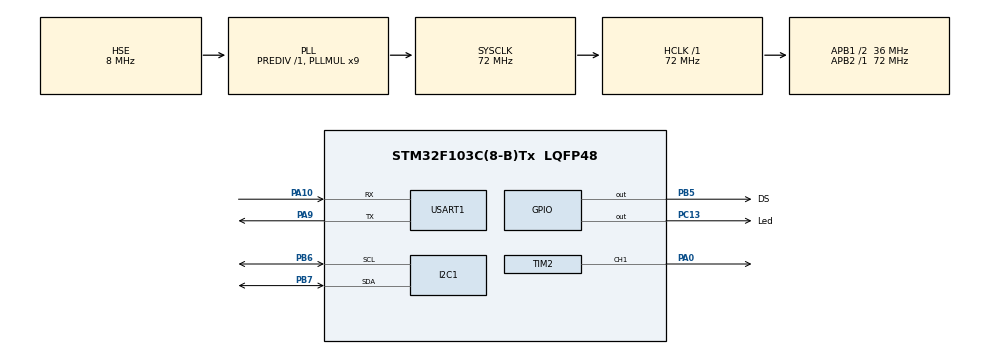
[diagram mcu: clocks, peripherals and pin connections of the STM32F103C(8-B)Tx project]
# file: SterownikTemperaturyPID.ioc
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I2C1.I2C_Mode=I2C_Fast
Mcu.Family=STM32F1
Mcu.Name=STM32F103C(8-B)Tx
Mcu.Package=LQFP48
NVIC.PriorityGroup=NVIC_PRIORITYGROUP_4
NVIC.TIM3_IRQn=true\:3\:0\:true\:false\:true\:true\:true\:true
NVIC.USART1_IRQn=true\:1\:0\:true\:false\:true\:true\:true\:true
PA0-WKUP.Signal=S_TIM2_CH1_ETR
PA10.Mode=Asynchronous
PA10.Signal=USART1_RX
PA13.Mode=Serial_Wire
PA13.Signal=SYS_JTMS-SWDIO
PA14.Mode=Serial_Wire
PA14.Signal=SYS_JTCK-SWCLK
PA9.Mode=Asynchronous
PA9.Signal=USART1_TX
PB5.GPIO_Label=DS
PB5.GPIO_ModeDefaultOutputPP=GPIO_MODE_OUTPUT_OD
PB5.GPIO_PuPd=GPIO_NOPULL
PB5.GPIO_Speed=GPIO_SPEED_FREQ_HIGH
PB5.PinState=GPIO_PIN_SET
PB5.Signal=GPIO_Output
PB6.Mode=I2C
PB6.Signal=I2C1_SCL
PB7.Mode=I2C
PB7.Signal=I2C1_SDA
PC13-TAMPER-RTC.GPIO_Label=Led
PC13-TAMPER-RTC.PinState=GPIO_PIN_SET
PC13-TAMPER-RTC.Signal=GPIO_Output
PD0-OSC_IN.Mode=HSE-External-Oscillator
PD0-OSC_IN.Signal=RCC_OSC_IN
PD1-OSC_OUT.Mode=HSE-External-Oscillator
PD1-OSC_OUT.Signal=RCC_OSC_OUT
ProjectManager.HeapSize=0x200
ProjectManager.StackSize=0x400
ProjectManager.TargetToolchain=STM32CubeIDE
RCC.AHBFreq_Value=72000000
RCC.APB1CLKDivider=RCC_HCLK_DIV2
RCC.APB1Freq_Value=36000000
RCC.APB1TimFreq_Value=72000000
RCC.APB2Freq_Value=72000000
RCC.APB2TimFreq_Value=72000000
RCC.HCLKFreq_Value=72000000
RCC.PLLMUL=RCC_PLL_MUL9
RCC.PLLSourceVirtual=RCC_PLLSOURCE_HSE
RCC.SYSCLKFreq_VALUE=72000000
RCC.SYSCLKSource=RCC_SYSCLKSOURCE_PLLCLK
RCC.USBFreq_Value=72000000
SH.S_TIM2_CH1_ETR.0=TIM2_CH1,PWM Generation1 CH1
TIM2.Channel-PWM\ Generation1\ CH1=TIM_CHANNEL_1
TIM2.OCMode_PWM-PWM\ Generation1\ CH1=TIM_OCMODE_PWM2
TIM2.Period=999
TIM2.Prescaler=1439
TIM3.Channel-Output\ Compare1\ No\ Output=TIM_CHANNEL_1
TIM3.Period=999
TIM3.Prescaler=1439
USART1.VirtualMode=VM_ASYNC
VP_TIM2_VS_ClockSourceINT.Mode=Internal
VP_TIM3_VS_ClockSourceINT.Mode=Internal
VP_TIM3_VS_no_output1.Mode=Output Compare1 No Output
board=custom

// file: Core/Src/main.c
/* USER CODE BEGIN Header */
/**
  ******************************************************************************
  * @file           : main.c
  * @brief          : Main program body
  ******************************************************************************
  * @attention
  *
  * Copyright (c) 2024 STMicroelectronics.
  * All rights reserved.
  *
  * This software is licensed under terms that can be found in the LICENSE file
  * in the root directory of this software component.
  * If no LICENSE file comes with this software, it is provided AS-IS.
  *
  ******************************************************************************
  */
/* USER CODE END Header */
#include "main.h"
#include "i2c.h"
#include "tim.h"
#include "usart.h"
#include "gpio.h"

/* USER CODE BEGIN Includes */
#include "math.h"
#include "stdlib.h"
#include "string.h"
#include "BMPXX80.h"
/* USER CODE END Includes */

/* USER CODE BEGIN PV */
uint8_t RX_Buffer[10];
uint8_t RX_Char;
uint8_t buffer_index = 0;
char Buff[16];

float temperature = 0;
float pressure = 0;
uint16_t Output = 0;

uint16_t CNT = 0;

float Error = 0.0;
float OUTPUT = 0.0;
float Temperatura = 0.0;
uint8_t Ds_OK = 1;
volatile uint8_t iRQ = 0;
uint8_t rom_code[8];
typedef struct {
    float Kp;
    float Ki;
    float Kd;

    float previous_error;
    float integral;
    float setpoint;

    float output_min;
    float output_max;
} PID_Controller;

PID_Controller PID;

/* USER CODE END PV */

void SystemClock_Config(void);
/* USER CODE BEGIN PFP */

/*------------------------------------------------PID-----------------------------------------------*/
void PID_Init(PID_Controller *pid, float Kp, float Ki, float Kd, float output_min, float output_max) {
    pid->Kp = Kp;
    pid->Ki = Ki;
    pid->Kd = Kd;

    pid->previous_error = 0.0f;
    pid->integral = 0.0f;
    pid->setpoint = 0.0f;

    pid->output_min = output_min;
    pid->output_max = output_max;
}
float PID_Compute(PID_Controller *pid, float measured_value, float dt) {
    float error = pid->setpoint - measured_value;
    float derivative = (error - pid->previous_error) / dt;
    pid->integral += error * dt;
    float output = pid->Kp * error + pid->Ki * pid->integral + pid->Kd * derivative;

    if(output > pid->output_max){
        output = pid->output_max;
    }else if(output < pid->output_min){
        output = pid->output_min;
    }

    pid->previous_error = error;

    Error = error;
    OUTPUT = output;

    return output;
}
void SetPWM(uint16_t PWM){
	__HAL_TIM_SET_COMPARE(&htim2, TIM_CHANNEL_1, PWM);
	HAL_TIM_PWM_Start(&htim2, TIM_CHANNEL_1);
}

void Uart_Send_String(char *d){
    HAL_UART_Transmit(&huart1, (uint8_t *)d, strlen(d), 2000);
}

uint32_t Delay_Init(void)
{
    /* Disable TRC */
    CoreDebug->DEMCR &= ~CoreDebug_DEMCR_TRCENA_Msk; // ~0x01000000;
    /* Enable TRC */
    CoreDebug->DEMCR |=  CoreDebug_DEMCR_TRCENA_Msk; // 0x01000000;

    /* Disable clock cycle counter */
    DWT->CTRL &= ~DWT_CTRL_CYCCNTENA_Msk; //~0x00000001;
    /* Enable  clock cycle counter */
    DWT->CTRL |=  DWT_CTRL_CYCCNTENA_Msk; //0x00000001;

    /* Reset the clock cycle counter value */
    DWT->CYCCNT = 0;

    /* 3 NO OPERATION instructions */
    __ASM volatile ("NOP");
    __ASM volatile ("NOP");
    __ASM volatile ("NOP");

    /* Check if clock cycle counter has started */
    if(DWT->CYCCNT)
    {
       return 0; /*clock cycle counter started*/
    }
    else
    {
      return 1; /*clock cycle counter not started*/
    }
}
void delay_us(uint32_t us)
{
	uint32_t au32_initial_ticks = DWT->CYCCNT;
	uint32_t au32_ticks = (HAL_RCC_GetHCLKFreq() / 1000000);
	us *= au32_ticks;
	while ((DWT->CYCCNT - au32_initial_ticks) < us-au32_ticks);
}
HAL_StatusTypeDef wire_reset(void){
  int rc;

  DS_GPIO_Port -> ODR &= ~DS_Pin;
  delay_us(480);
  DS_GPIO_Port -> ODR |= DS_Pin;
  delay_us(70);
  rc = HAL_GPIO_ReadPin(DS_GPIO_Port, DS_Pin);
  delay_us(410);

  if (rc == 0)
    return HAL_OK;
  else
    return HAL_ERROR;
}
void write_bit(int value)
{
  if (value) {
	DS_GPIO_Port -> ODR &= ~DS_Pin;
    delay_us(6);
    DS_GPIO_Port -> ODR |= DS_Pin;
    delay_us(64);
  } else {
	DS_GPIO_Port -> ODR &= ~DS_Pin;
    delay_us(60);
    DS_GPIO_Port -> ODR |= DS_Pin;
    delay_us(10);
  }
}
int read_bit(void)
{
  int rc;
  DS_GPIO_Port -> ODR &= ~DS_Pin;
  delay_us(6);
  DS_GPIO_Port -> ODR |= DS_Pin;
  delay_us(9);
  rc = HAL_GPIO_ReadPin(DS_GPIO_Port, DS_Pin);
  delay_us(55);
  return rc;
}
void wire_write(uint8_t byte)
{
  int i;
  for (i = 0; i < 8; i++) {
    write_bit(byte & 0x01);
    byte >>= 1;
  }
}
uint8_t wire_read(void)
{
  uint8_t value = 0;
  int i;
  for (i = 0; i < 8; i++) {
    value >>= 1;
    if (read_bit())
      value |= 0x80;
  }
  return value;
}
HAL_StatusTypeDef DS_SetResolution(uint8_t resolution) {
    uint8_t scratchpad[9];
    uint8_t config;
    if (resolution < 9 || resolution > 12) {
        return HAL_ERROR; // Niepoprawna rozdzielczość
    }

    // Reset i inicjalizacja
    if (wire_reset() != HAL_OK) {
        return HAL_ERROR;
    }

    // Wybór urządzenia (SKIP ROM)
    wire_write(0xCC);

    // Odczyt Scratchpada
    wire_write(0xBE);
    for (int i = 0; i < 9; i++) {
        scratchpad[i] = wire_read();
    }

    // Modyfikacja rejestru konfiguracji
    config = scratchpad[4];
    config &= ~0x60; // Wyczyszczenie bitów R1 i R0
    config |= (resolution - 9) << 5; // Ustawienie odpowiednich bitów

    // Zapis nowego Scratchpada
    if (wire_reset() != HAL_OK) {
        return HAL_ERROR;
    }

    wire_write(0xCC); // SKIP ROM
    wire_write(0x4E); // Write Scratchpad
    wire_write(scratchpad[2]); // Kopiowanie TH
    wire_write(scratchpad[3]); // Kopiowanie TL
    wire_write(config);        // Nowy rejestr konfiguracji

    // Zapis do EEPROM (kopiowanie Scratchpada do pamięci)
    if (wire_reset() != HAL_OK) {
        return HAL_ERROR;
    }

    wire_write(0xCC); // SKIP ROM
    wire_write(0x48); // Kopiowanie Scratchpada do EEPROM
    HAL_Delay(10);    // Krótka przerwa na zapis

    return HAL_OK;
}
float ReadTemperature(void) {
    uint8_t temp_lsb, temp_msb;
    int16_t temp_raw;
    float temperature;

    // Reset i inicjalizacja czujnika
    if (wire_reset() != HAL_OK) {
        return -999.0; // Błąd komunikacji
    }

    // Wybór urządzenia (SKIP ROM - pomijamy adresowanie, zakładając jeden czujnik)
    wire_write(0xCC);

    // Wydanie polecenia rozpoczęcia konwersji temperatury
    wire_write(0x44);

    // Czekanie na zakończenie konwersji (czas max. 750 ms)
    HAL_Delay(100);

    // Reset i ponowne inicjalizowanie do odczytu danych
    if (wire_reset() != HAL_OK) {
        return -999.0; // Błąd komunikacji
    }

    // Wybór urządzenia (SKIP ROM)
    wire_write(0xCC);

    // Wydanie polecenia odczytu Scratchpad
    wire_write(0xBE);

    // Odczyt dwóch pierwszych bajtów Scratchpad (temp LSB i MSB)
    temp_lsb = wire_read();
    temp_msb = wire_read();

    // Złożenie surowej wartości temperatury
    temp_raw = (temp_msb << 8) | temp_lsb;

    // Przekształcenie na wartość temperatury w stopniach Celsjusza
    temperature = temp_raw / 16.0;

    return temperature;
}

void SendDataToPC() {
    int8_t MSB = 0;
    uint8_t LSB = 0; // LSB jako uint8_t dla poprawności zakresu
    char Buff[10];   // Bufor do konwersji liczb na ciągi znaków

    // Temperaturę wysyłamy jako "<MSB.LSB/"
    MSB = (int8_t)temperature;
    LSB = (uint8_t)((temperature - MSB) * 100.0);
    Uart_Send_String("<");
    itoa(MSB, Buff, 10);
    Uart_Send_String(Buff);
    Uart_Send_String(".");
    itoa(LSB, Buff, 10);
    Uart_Send_String(Buff);
    Uart_Send_String("/");

    // Błąd (Error)
    MSB = (int8_t)Error;
    LSB = (uint8_t)(fabs(Error * 100.0) - abs(MSB * 100)); // fabs dla liczb zmiennoprzecinkowych
    itoa(MSB, Buff, 10);
    Uart_Send_String(Buff);
    Uart_Send_String(".");
    itoa(LSB, Buff, 10);
    Uart_Send_String(Buff);
    Uart_Send_String("/");

    // Setpoint (PID)
    MSB = (int8_t)PID.setpoint;
    LSB = (uint8_t)((PID.setpoint - MSB) * 100.0);
    itoa(MSB, Buff, 10);
    Uart_Send_String(Buff);
    Uart_Send_String(".");
    itoa(LSB, Buff, 10);
    Uart_Send_String(Buff);
    Uart_Send_String("/");

    // Temperatura
    MSB = (int8_t)Temperatura;
    LSB = (uint8_t)((Temperatura - MSB) * 100.0);
    itoa(MSB, Buff, 10);
    Uart_Send_String(Buff);
    Uart_Send_String(".");
    itoa(LSB, Buff, 10);
    Uart_Send_String(Buff);
    Uart_Send_String(">\r\n");
}

/* USER CODE END PFP */

/* USER CODE BEGIN 0 */
void HAL_TIM_PeriodElapsedCallback(TIM_HandleTypeDef *htim){
	if(htim == &htim3){
		iRQ = 1;
		CNT++;
	}
}
void HAL_UART_RxCpltCallback(UART_HandleTypeDef *huart){
	if(huart == &huart1){
		char *endptr;
		float temp = 0.0;

		if(buffer_index < 10) {
		     RX_Buffer[buffer_index++] = RX_Char;
		}else{
             buffer_index = 0;
		}

		if((RX_Buffer[0] == '<') && (RX_Char == '>')){  //Koniec linii
			if (RX_Buffer[1] == '#') {
			    // KP                                                                         //Kp - <#...>
			    temp = strtof((char*)&RX_Buffer[2], &endptr);
			    if (endptr != (char*)&RX_Buffer[2]) {
			        PID.Kp = temp;
			    }

			    //utoa((uint16_t)PID.Kp, Buff, 10);
			    //Uart_Send_String("KP ustawiono na: ");
			   // Uart_Send_String(Buff);
			   // Uart_Send_String("\r\n");
			}

			if (RX_Buffer[1] == '$') {
			    // KI                                                                         //Ki - <$...>
			    temp = strtof((char*)&RX_Buffer[2], &endptr);
			    if (endptr != (char*)&RX_Buffer[2]) {
			        PID.Ki = temp;
			    }

			    //utoa((uint16_t)PID.Ki, Buff, 10);
			 	//Uart_Send_String("KI ustawiono na: ");
			 	//Uart_Send_String(Buff);
			 	//Uart_Send_String("\r\n");
			}

			if (RX_Buffer[1] == '^') {
			    // KD                                                                          //Kd - <^...>
			    temp = strtof((char*)&RX_Buffer[2], &endptr);
			    if (endptr != (char*)&RX_Buffer[2]) {
			        PID.Kd = temp;
			    }

			    //utoa((uint16_t)PID.Kd, Buff, 10);
			 	//Uart_Send_String("KD ustawiono na: ");
			 	//Uart_Send_String(Buff);
			 	//Uart_Send_String("\r\n");
			}

			if (RX_Buffer[1] == '*') {
			    // Setpoint                                                                //Setpoint - <*...>
			    temp = strtof((char*)&RX_Buffer[2], &endptr);
			    if (endptr != (char*)&RX_Buffer[2]) {
			        PID.setpoint = temp;
			    }

			    //utoa((uint16_t)PID.setpoint, Buff, 10);
			 	//Uart_Send_String("Setpoint ustawiono na: ");
			 	//Uart_Send_String(Buff);
			 	//Uart_Send_String("\r\n");
			}
			for(uint8_t i = 0; i < 10; i++){
				RX_Buffer[i] = 0;
			}
			buffer_index = 0;
		}
		HAL_UART_Receive_IT(&huart1, &RX_Char, 1);
	}
}
/* USER CODE END 0 */

int main(void)
{

  /* MCU Configuration--------------------------------------------------------*/

  /* Reset of all peripherals, Initializes the Flash interface and the Systick. */
  HAL_Init();

  /* Configure the system clock */
  SystemClock_Config();

  /* Initialize all configured peripherals */
  MX_GPIO_Init();
  MX_I2C1_Init();
  MX_USART1_UART_Init();
  MX_TIM2_Init();
  MX_TIM3_Init();
  /* USER CODE BEGIN 2 */
  HAL_TIM_Base_Start_IT(&htim2);
  HAL_UART_Receive_IT(&huart1, &RX_Char, 1);
  HAL_TIM_Base_Start_IT(&htim3);

  Delay_Init();
  PID_Init(&PID, 27.0, 0.9, 4.5, 0, 999);  //55.8, 0.05, 7.5
  BMP280_Init(&hi2c1, BMP280_TEMPERATURE_16BIT, BMP280_STANDARD, BMP280_FORCEDMODE);
  PID.setpoint = 0.0;

  /* USER CODE END 2 */

  /* Infinite loop */
  /* USER CODE BEGIN WHILE */
  while (1)
  {
	if(iRQ == 1){
		temperature = BMP280_ReadTemperature();
		Output = PID_Compute(&PID, temperature, 0.02);
		SetPWM(Output);
        iRQ = 0;
	}

	if(CNT == 3){
		Temperatura = ReadTemperature();
		SendDataToPC();
		CNT = 0;
	}
    /* USER CODE END WHILE */

  }
}

void SystemClock_Config(void)
{
  RCC_OscInitTypeDef RCC_OscInitStruct = {0};
  RCC_ClkInitTypeDef RCC_ClkInitStruct = {0};

  /** Initializes the RCC Oscillators according to the specified parameters
  * in the RCC_OscInitTypeDef structure.
  */
  RCC_OscInitStruct.OscillatorType = RCC_OSCILLATORTYPE_HSE;
  RCC_OscInitStruct.HSEState = RCC_HSE_ON;
  RCC_OscInitStruct.HSEPredivValue = RCC_HSE_PREDIV_DIV1;
  RCC_OscInitStruct.HSIState = RCC_HSI_ON;
  RCC_OscInitStruct.PLL.PLLState = RCC_PLL_ON;
  RCC_OscInitStruct.PLL.PLLSource = RCC_PLLSOURCE_HSE;
  RCC_OscInitStruct.PLL.PLLMUL = RCC_PLL_MUL9;
  if (HAL_RCC_OscConfig(&RCC_OscInitStruct) != HAL_OK)
  {
    Error_Handler();
  }

  /** Initializes the CPU, AHB and APB buses clocks
  */
  RCC_ClkInitStruct.ClockType = RCC_CLOCKTYPE_HCLK|RCC_CLOCKTYPE_SYSCLK
                              |RCC_CLOCKTYPE_PCLK1|RCC_CLOCKTYPE_PCLK2;
  RCC_ClkInitStruct.SYSCLKSource = RCC_SYSCLKSOURCE_PLLCLK;
  RCC_ClkInitStruct.AHBCLKDivider = RCC_SYSCLK_DIV1;
  RCC_ClkInitStruct.APB1CLKDivider = RCC_HCLK_DIV2;
  RCC_ClkInitStruct.APB2CLKDivider = RCC_HCLK_DIV1;

  if (HAL_RCC_ClockConfig(&RCC_ClkInitStruct, FLASH_LATENCY_2) != HAL_OK)
  {
    Error_Handler();
  }
}

void Error_Handler(void)
{
  __disable_irq();
  while (1)
  {
  }
}
